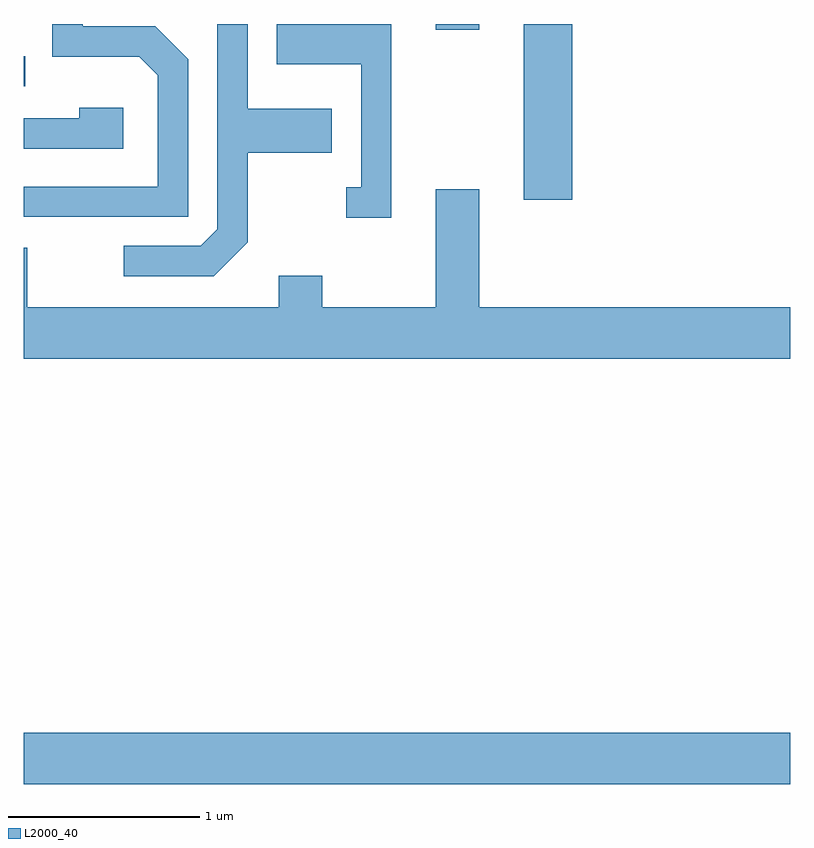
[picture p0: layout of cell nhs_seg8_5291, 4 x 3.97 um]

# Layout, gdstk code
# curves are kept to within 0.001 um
import gdstk
lib = gdstk.Library(unit=1e-6, precision=1e-09)
def R(c, l, rs):  # rectangles x0, y0, x1, y1
    for r in rs: c.add(gdstk.rectangle(r[:2], r[2:], *l))
def P(c, l, *ps):  # polygons
    for p in ps: c.add(gdstk.Polygon(p, *l))
L2000_40 = (2000, 40)

nhs_seg8_5291 = lib.new_cell('nhs_seg8_5291')
R(nhs_seg8_5291, L2000_40, [(343.611,1876.376,347.611,1876.644), (346.221,1879.426,346.474,1880.342), (343.611,1880.016,343.618,1880.174), (345.761,1880.311,345.989,1880.342)])
P(nhs_seg8_5291, L2000_40, [(344.469,1880.157),(344.297,1880.329),(343.919,1880.329),(343.919,1880.342),(343.611,1880.342),(343.761,1880.341),(343.761,1880.171),(344.214,1880.171),(344.311,1880.074),(344.311,1879.494),(343.611,1879.494),(343.611,1879.336),(344.469,1879.336)],
  [(345.529,1880.342),(344.931,1880.342),(344.931,1880.131),(345.371,1880.131),(345.371,1879.489),(345.293,1879.489),(345.293,1879.331),(345.529,1879.331)],
  [(344.779,1879.204),(344.779,1879.671),(345.219,1879.671),(345.219,1879.899),(344.779,1879.899),(344.779,1880.342),(344.621,1880.342),(344.621,1879.272),(344.534,1879.184),(344.133,1879.184),(344.133,1879.026),(344.602,1879.026)],
  [(344.129,1879.904),(343.901,1879.904),(343.901,1879.849),(343.611,1879.849),(343.611,1879.691),(344.129,1879.691)],
  [(347.611,1878.864),(345.989,1878.864),(345.989,1879.479),(345.761,1879.479),(345.761,1878.864),(345.169,1878.864),(345.169,1879.029),(344.941,1879.029),(344.941,1878.864),(343.629,1878.864),(343.629,1879.174),(343.611,1879.174),(343.611,1878.596),(347.611,1878.596)])

lib.write_gds('nhs_seg8_5291.gds')
